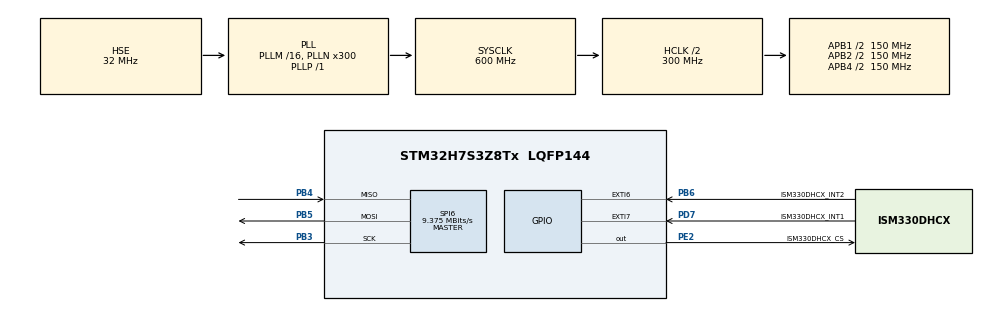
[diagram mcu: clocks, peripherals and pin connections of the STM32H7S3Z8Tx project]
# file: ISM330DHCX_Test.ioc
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Appli.IPs=CORTEX_M7_APPLI\:I,GPDMA1,GPIO,HPDMA1,LINKEDLIST,NVIC2\:I,RCC
Boot.IPs=CORTEX_M7_BOOT\:I,GPDMA1\:I,GPIO,HPDMA1\:I,LINKEDLIST\:I,NVIC1\:I,RCC\:I,MEMORYMAP\:I,SPI6,SBS
Boot.Pins=PD7,PE2,PB6
CORTEX_M7_APPLI.default_mode_Activation=1
CORTEX_M7_BOOT.CPU_ICache=Enabled
CORTEX_M7_BOOT.default_mode_Activation=1
ExtMemLoader.IPs=EXTMEM_LOADER\:I,EXTMEM_MANAGER\:I,GPDMA1,GPIO,HPDMA1,LINKEDLIST
GPDMA1.DESTINC_GPDMACH0=DMA_DINC_INCREMENTED
GPDMA1.DIRECTION_GPDMACH1=DMA_MEMORY_TO_PERIPH
GPDMA1.REQUEST_GPDMACH0=GPDMA1_REQUEST_SPI6_RX
GPDMA1.REQUEST_GPDMACH1=GPDMA1_REQUEST_SPI6_TX
GPDMA1.SRCINC_GPDMACH1=DMA_SINC_INCREMENTED
Mcu.Family=STM32H7
Mcu.Name=STM32H7S3Z8Tx
Mcu.Package=LQFP144
NVIC1.EXTI6_IRQn=true\:0\:0\:false\:false\:true\:true\:true\:true
NVIC1.EXTI7_IRQn=true\:0\:0\:false\:false\:true\:true\:true\:true
NVIC1.GPDMA1_Channel0_IRQn=true\:0\:0\:false\:false\:true\:false\:true\:true
NVIC1.GPDMA1_Channel1_IRQn=true\:0\:0\:false\:false\:true\:false\:true\:true
NVIC1.PriorityGroup=NVIC_PRIORITYGROUP_4
NVIC1.SPI6_IRQn=true\:0\:0\:false\:false\:true\:false\:true\:true
NVIC2.PriorityGroup=NVIC_PRIORITYGROUP_4
PB3(JTDO/TRACESWO).GPIO_PuPd=GPIO_NOPULL
PB3(JTDO/TRACESWO).GPIO_Speed=GPIO_SPEED_FREQ_VERY_HIGH
PB3(JTDO/TRACESWO).Mode=Full_Duplex_Master
PB3(JTDO/TRACESWO).PinAttribute=Boot
PB3(JTDO/TRACESWO).Signal=SPI6_SCK
PB4(NJTRST).GPIO_PuPd=GPIO_NOPULL
PB4(NJTRST).GPIO_Speed=GPIO_SPEED_FREQ_VERY_HIGH
PB4(NJTRST).Mode=Full_Duplex_Master
PB4(NJTRST).PinAttribute=Boot
PB4(NJTRST).Signal=SPI6_MISO
PB5.GPIO_Speed=GPIO_SPEED_FREQ_VERY_HIGH
PB5.Mode=Full_Duplex_Master
PB5.PinAttribute=Boot
PB5.Signal=SPI6_MOSI
PB6.GPIO_Label=ISM330DHCX_INT2
PB6.GPIO_PuPd=GPIO_NOPULL
PB6.PinAttribute=Boot
PB6.Signal=GPXTI6
PD7.GPIO_Label=ISM330DHCX_INT1
PD7.GPIO_PuPd=GPIO_NOPULL
PD7.PinAttribute=Boot
PD7.Signal=GPXTI7
PE2.GPIO_Label=ISM330DHCX_CS
PE2.GPIO_Speed=GPIO_SPEED_FREQ_VERY_HIGH
PE2.PinAttribute=Boot
PE2.PinState=GPIO_PIN_SET
PE2.Signal=GPIO_Output
PH0-OSC_IN(PH0).Mode=HSE-External-Clock-Source
PH0-OSC_IN(PH0).Signal=RCC_OSC_IN
ProjectManager.HeapSize=App-0x200,Boot-0x200,ExtMemLoader-0x200
ProjectManager.StackSize=App-0x400,Boot-0x400,ExtMemLoader-0x400
ProjectManager.TargetToolchain=STM32CubeIDE
RCC.ADCFreq_Value=64000000
RCC.APB1Freq_Value=150000000
RCC.APB2Freq_Value=150000000
RCC.APB4Freq_Value=150000000
RCC.BMPRE=RCC_HCLK_DIV2
RCC.CortexFreq_Value=600000000
RCC.DIVM1=16
RCC.DIVN1=300
RCC.DIVP1=1
RCC.HCLKFreq_Value=300000000
RCC.HSE_VALUE=32000000
RCC.PLL2FRACN=0
RCC.PLL3FRACN=0
RCC.PLLFRACN=0
RCC.PLLSource=RCC_PLLSOURCE_HSE
RCC.PPRE1=RCC_APB1_DIV2
RCC.PPRE2=RCC_APB2_DIV2
RCC.PPRE4=RCC_APB4_DIV2
RCC.PPRE5=RCC_APB5_DIV2
RCC.SYSCLKFreq_VALUE=600000000
RCC.SYSCLKSource=RCC_SYSCLKSOURCE_PLLCLK
SBS.IO_OTHER=Enable
SPI6.BaudRatePrescaler=SPI_BAUDRATEPRESCALER_16
SPI6.CLKPhase=SPI_PHASE_1EDGE
SPI6.CLKPolarity=SPI_POLARITY_LOW
SPI6.CalculateBaudRate=9.375 MBits/s
SPI6.DataSize=SPI_DATASIZE_8BIT
SPI6.Direction=SPI_DIRECTION_2LINES
SPI6.FirstBit=SPI_FIRSTBIT_MSB
SPI6.Mode=SPI_MODE_MASTER
SPI6.VirtualType=VM_MASTER
VP_GPDMA1_VS_GPDMACH0.Mode=SIMPLEREQUEST_GPDMACH0
VP_GPDMA1_VS_GPDMACH1.Mode=SIMPLEREQUEST_GPDMACH1
VP_MEMORYMAP_VS_MEMORYMAP.Mode=CurAppReg
VP_SBS_VS-SBS.Mode=SBS
board=custom

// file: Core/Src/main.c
/* USER CODE BEGIN Header */
/**
  ******************************************************************************
  * @file           : main.c
  * @brief          : Main program body
  ******************************************************************************
  * @attention
  *
  * Copyright (c) 2026 STMicroelectronics.
  * All rights reserved.
  *
  * This software is licensed under terms that can be found in the LICENSE file
  * in the root directory of this software component.
  * If no LICENSE file comes with this software, it is provided AS-IS.
  *
  ******************************************************************************
  */
/* USER CODE END Header */
#include "main.h"
#include "gpdma.h"
#include "sbs.h"
#include "spi.h"
#include "gpio.h"

/* USER CODE BEGIN Includes */
#include "ism330dhcx.h"
/* USER CODE END Includes */

/* USER CODE BEGIN PV */
ISM330DHCX_AXIS_SCALED_DATA temp_data;
volatile uint8_t flag = 0;
/* USER CODE END PV */

void SystemClock_Config(void);
static void MPU_Config(void);

int main(void)
{

  /* MPU Configuration--------------------------------------------------------*/
  MPU_Config();

  /* Enable the CPU Cache */

  /* Enable I-Cache---------------------------------------------------------*/
  SCB_EnableICache();

  /* MCU Configuration--------------------------------------------------------*/

  /* Reset of all peripherals, Initializes the Flash interface and the Systick. */
  HAL_Init();

  /* Configure the system clock */
  SystemClock_Config();

  /* Initialize all configured peripherals */
  MX_GPIO_Init();
  MX_GPDMA1_Init();
  MX_SPI6_Init();
  MX_SBS_Init();
  /* USER CODE BEGIN 2 */
  ISM330DHCX_Init(&hspi6);

  /* USER CODE END 2 */

  /* Infinite loop */
  while (1)
  {

  }
}

void SystemClock_Config(void)
{
  RCC_OscInitTypeDef RCC_OscInitStruct = {0};
  RCC_ClkInitTypeDef RCC_ClkInitStruct = {0};

  /** Configure the main internal regulator output voltage
  */
  if (HAL_PWREx_ControlVoltageScaling(PWR_REGULATOR_VOLTAGE_SCALE0) != HAL_OK)
  {
    Error_Handler();
  }

  /** Initializes the RCC Oscillators according to the specified parameters
  * in the RCC_OscInitTypeDef structure.
  */
  RCC_OscInitStruct.OscillatorType = RCC_OSCILLATORTYPE_HSE;
  RCC_OscInitStruct.HSEState = RCC_HSE_BYPASS;
  RCC_OscInitStruct.PLL1.PLLState = RCC_PLL_ON;
  RCC_OscInitStruct.PLL1.PLLSource = RCC_PLLSOURCE_HSE;
  RCC_OscInitStruct.PLL1.PLLM = 16;
  RCC_OscInitStruct.PLL1.PLLN = 300;
  RCC_OscInitStruct.PLL1.PLLP = 1;
  RCC_OscInitStruct.PLL1.PLLQ = 2;
  RCC_OscInitStruct.PLL1.PLLR = 2;
  RCC_OscInitStruct.PLL1.PLLS = 2;
  RCC_OscInitStruct.PLL1.PLLT = 2;
  RCC_OscInitStruct.PLL1.PLLFractional = 0;
  RCC_OscInitStruct.PLL2.PLLState = RCC_PLL_NONE;
  RCC_OscInitStruct.PLL3.PLLState = RCC_PLL_NONE;
  if (HAL_RCC_OscConfig(&RCC_OscInitStruct) != HAL_OK)
  {
    Error_Handler();
  }

  /** Initializes the CPU, AHB and APB buses clocks
  */
  RCC_ClkInitStruct.ClockType = RCC_CLOCKTYPE_HCLK|RCC_CLOCKTYPE_SYSCLK
                              |RCC_CLOCKTYPE_PCLK1|RCC_CLOCKTYPE_PCLK2
                              |RCC_CLOCKTYPE_PCLK4|RCC_CLOCKTYPE_PCLK5;
  RCC_ClkInitStruct.SYSCLKSource = RCC_SYSCLKSOURCE_PLLCLK;
  RCC_ClkInitStruct.SYSCLKDivider = RCC_SYSCLK_DIV1;
  RCC_ClkInitStruct.AHBCLKDivider = RCC_HCLK_DIV2;
  RCC_ClkInitStruct.APB1CLKDivider = RCC_APB1_DIV2;
  RCC_ClkInitStruct.APB2CLKDivider = RCC_APB2_DIV2;
  RCC_ClkInitStruct.APB4CLKDivider = RCC_APB4_DIV2;
  RCC_ClkInitStruct.APB5CLKDivider = RCC_APB5_DIV2;

  if (HAL_RCC_ClockConfig(&RCC_ClkInitStruct, FLASH_LATENCY_7) != HAL_OK)
  {
    Error_Handler();
  }
}

/* USER CODE BEGIN 4 */
void HAL_GPIO_EXTI_Callback(uint16_t GPIO_Pin) {
  switch (GPIO_Pin) {
        // Called when data from ISM330DHCX is ready.
        // Trigered when data is ready on the ISM330DHCX sensor, currently set to trigger on INT1 pin, refer to ISM330DHCX_Init() for details on INT1 IRQ configuration
        case ISM330DHCX_INT1_Pin:
        	ISM330DHCX_GET_GYRO_AND_ACC_DMA(EVENT_START_CYCLE);
            break;

        case ISM330DHCX_INT2_Pin:
        	// Not supported
            break;
  }
}

void HAL_SPI_TxRxCpltCallback(SPI_HandleTypeDef *hspi) {
    switch ((uint32_t)hspi->Instance) {
        case (uint32_t)SPI6:
            ISM330DHCX_GET_GYRO_AND_ACC_DMA(EVENT_SPI_TX_RX_DONE);
        	ISM330DHCX_GET_Scaled_GYRO_AND_ACC(&temp_data);
            break;
    }
}
/* USER CODE END 4 */

 /* MPU Configuration */

static void MPU_Config(void)
{
  MPU_Region_InitTypeDef MPU_InitStruct = {0};

  /* Disables the MPU */
  HAL_MPU_Disable();

  /** Initializes and configures the Region and the memory to be protected
  */
  MPU_InitStruct.Enable = MPU_REGION_ENABLE;
  MPU_InitStruct.Number = MPU_REGION_NUMBER0;
  MPU_InitStruct.BaseAddress = 0x0;
  MPU_InitStruct.Size = MPU_REGION_SIZE_4GB;
  MPU_InitStruct.SubRegionDisable = 0x87;
  MPU_InitStruct.TypeExtField = MPU_TEX_LEVEL0;
  MPU_InitStruct.AccessPermission = MPU_REGION_NO_ACCESS;
  MPU_InitStruct.DisableExec = MPU_INSTRUCTION_ACCESS_DISABLE;
  MPU_InitStruct.IsShareable = MPU_ACCESS_SHAREABLE;
  MPU_InitStruct.IsCacheable = MPU_ACCESS_NOT_CACHEABLE;
  MPU_InitStruct.IsBufferable = MPU_ACCESS_NOT_BUFFERABLE;

  HAL_MPU_ConfigRegion(&MPU_InitStruct);
  /* Enables the MPU */
  HAL_MPU_Enable(MPU_PRIVILEGED_DEFAULT);

}

void Error_Handler(void)
{
  __disable_irq();
  while (1)
  {
  }
}
